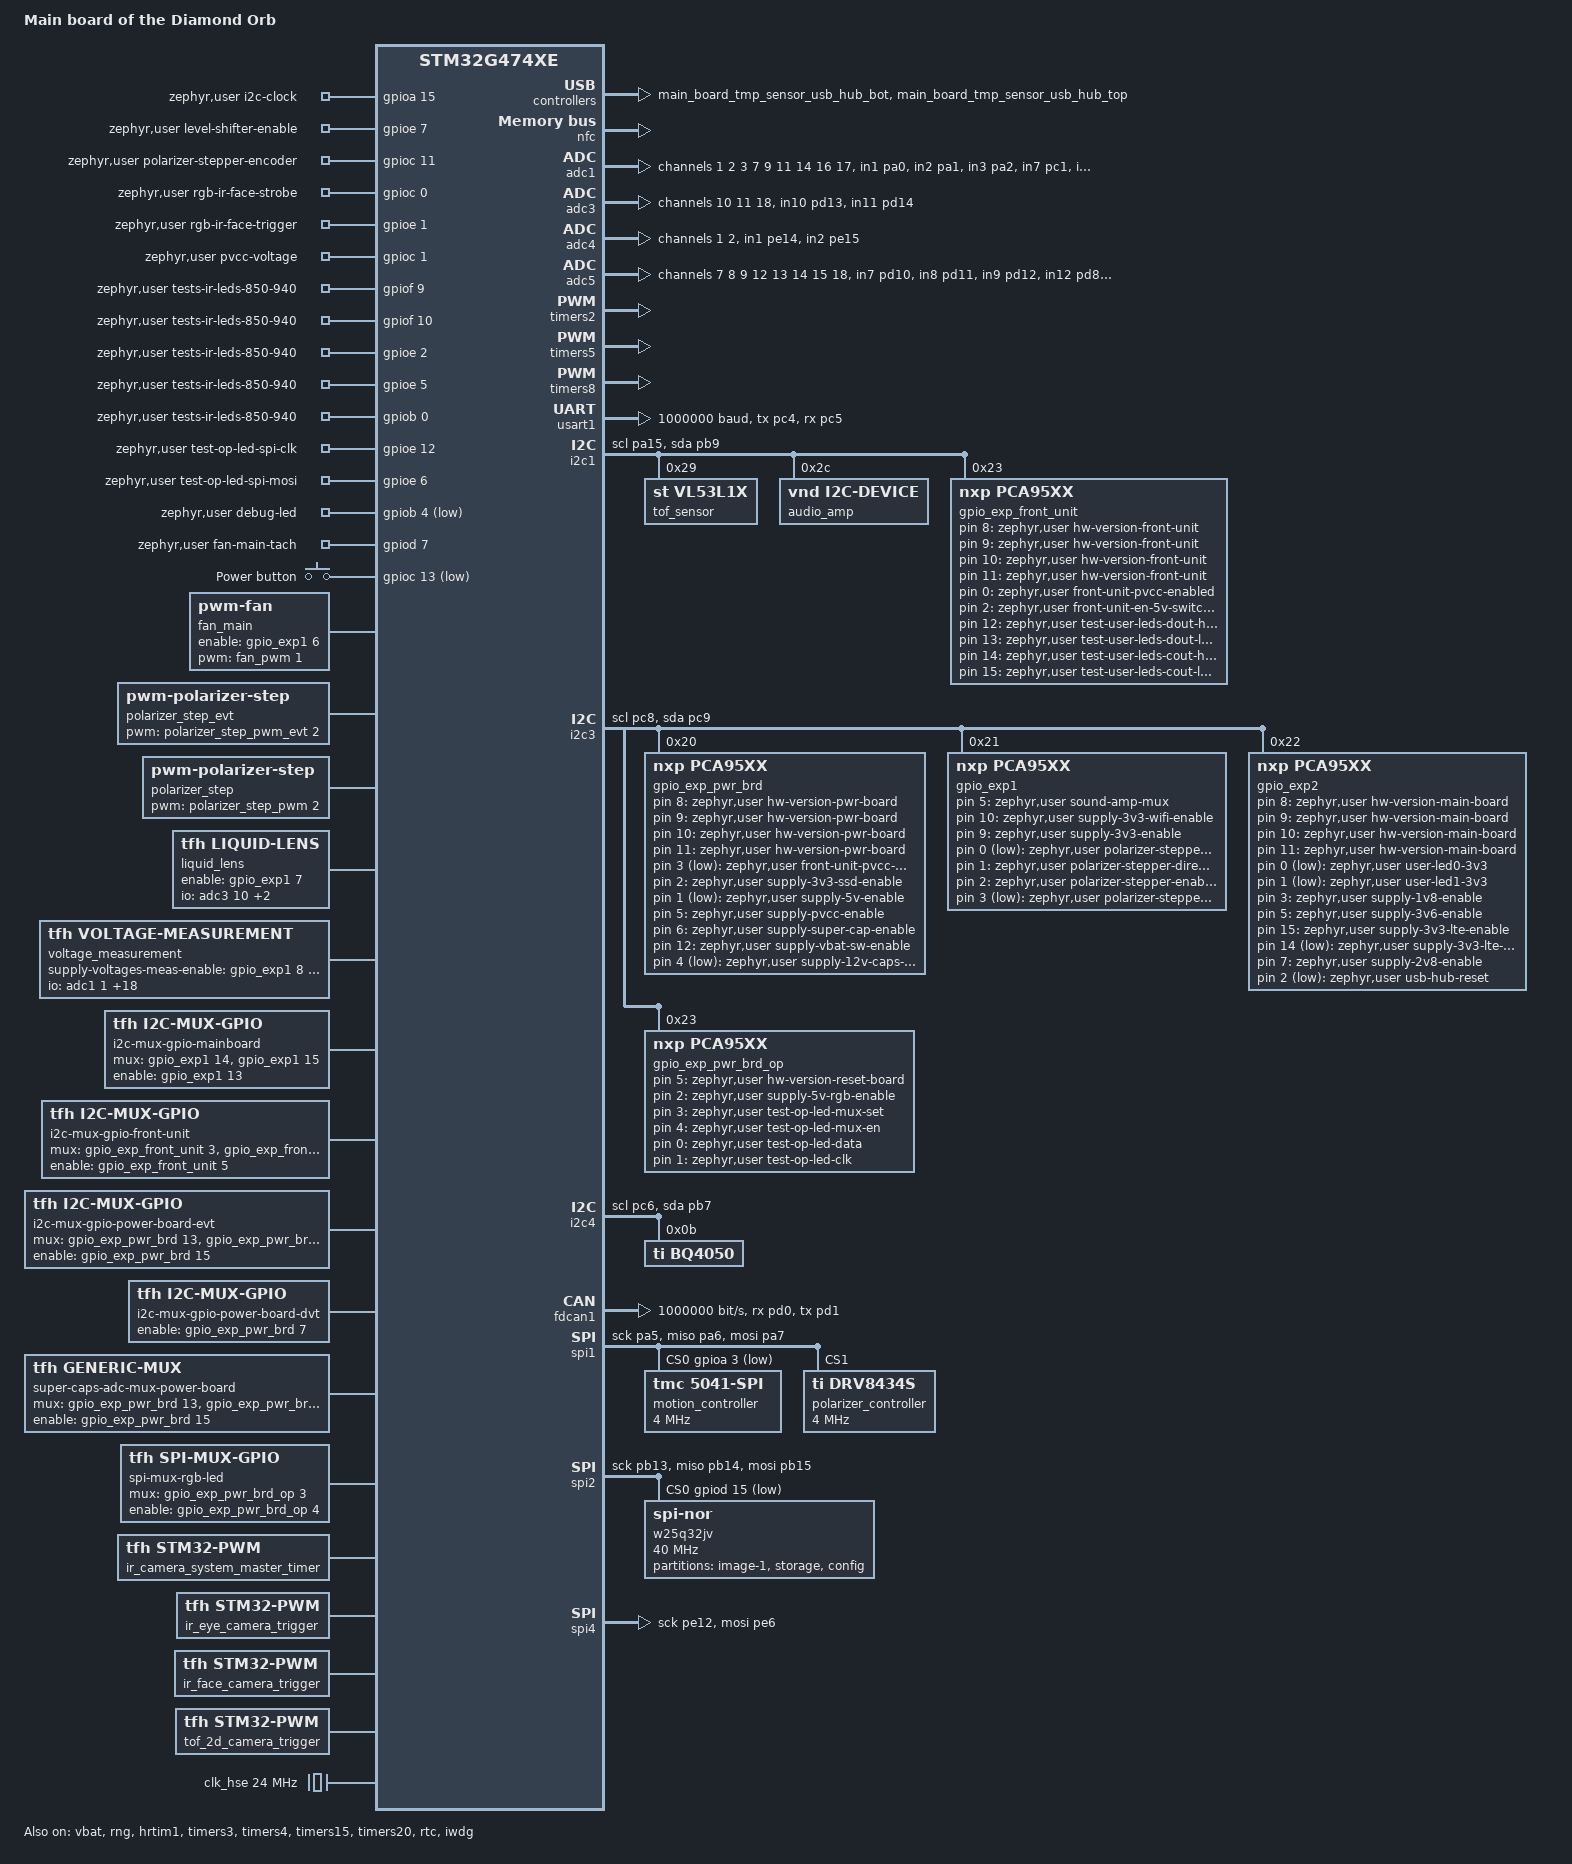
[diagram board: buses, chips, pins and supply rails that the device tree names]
/dts-v1/;
#include <st/g4/stm32g474Xe.dtsi>
#include <st/g4/stm32g474v(b-c-e)tx-pinctrl.dtsi>
#include "../stm32g474-hrtim.dtsi"
#include <zephyr/dt-bindings/spi/spi.h>
#include <zephyr/dt-bindings/dma/stm32_dma.h>
#include <zephyr/dt-bindings/led/led.h>

/// see @file modules/hal/stm32/stm32cube/stm32g4xx/drivers/include/stm32g4xx_ll_dmamux.h
#define LL_DMAMUX_REQ_ADC1            0x00000005U  /*!< DMAMUX ADC1 request        */
#define LL_DMAMUX_REQ_ADC3            0x00000025U  /*!< DMAMUX ADC3 request        */
#define LL_DMAMUX_REQ_ADC4            0x00000026U  /*!< DMAMUX ADC4 request        */
#define LL_DMAMUX_REQ_ADC5            0x00000027U  /*!< DMAMUX ADC5 request        */
#define LL_DMAMUX_REQ_USART1_RX       0x00000018U  /*!< DMAMUX USART1 RX request   */
#define LL_DMAMUX_REQ_USART1_TX       0x00000019U  /*!< DMAMUX USART1 TX request   */
#define LL_DMAMUX_REQ_SPI4_TX         0x0000006BU  /*!< DMAMUX SPI4 TX request     */

#define LL_DMAMUX_CHANNEL_8           0x00000008U  /*!< DMAMUX Channel 8 connected to DMA2 Channel 1  */
#define LL_DMAMUX_CHANNEL_9           0x00000009U  /*!< DMAMUX Channel 9 connected to DMA2 Channel 2  */
#define LL_DMAMUX_CHANNEL_10          0x0000000AU  /*!< DMAMUX Channel 10 connected to DMA2 Channel 3 */
#define LL_DMAMUX_CHANNEL_11          0x0000000BU  /*!< DMAMUX Channel 11 connected to DMA2 Channel 4 */

/// see @file zephyr/dts/bindings/dma/st,stm32-dma-v2.yaml
#define DMA_CONFIG_CYCLIC_SHIFT     5
#define DMA_CONFIG_DIR_SHIFT        6
#define DMA_MEM_INC_ADDR_SHIFT      10

#define DMA_DIR_MEM_TO_PERIPH       1
#define DMA_DIR_PERIPH_TO_MEM       2

/ {
    model = "Main board of the Diamond Orb";
    compatible = "tfh,diamond_main";

    chosen {
        zephyr,flash = &flash0;
        zephyr,sram = &sram0;
        // app in slot0_partition by default
        // the bootloader uses an overlay to redefine this
        zephyr,code-partition = &slot0_partition;
        zephyr,canbus = &fdcan1;
    };

    aliases {
        watchdog0 = &iwdg;
        secondary-slot = &slot1_partition;
        spi-flash0 = &w25q32jv;
		rtc = &rtc;
    };

    zephyr,user {
        jetson-serial = <&usart1>;
        // GPIO used to get hardware version dynamically
        hw-version-main-board-gpios = <&gpio_exp2 8 GPIO_ACTIVE_HIGH>, <&gpio_exp2 9 GPIO_ACTIVE_HIGH>, <&gpio_exp2 10 GPIO_ACTIVE_HIGH>, <&gpio_exp2 11 GPIO_ACTIVE_HIGH>;
        hw-version-front-unit-gpios = <&gpio_exp_front_unit 8 GPIO_ACTIVE_HIGH>, <&gpio_exp_front_unit 9 GPIO_ACTIVE_HIGH>, <&gpio_exp_front_unit 10 GPIO_ACTIVE_HIGH>, <&gpio_exp_front_unit 11 GPIO_ACTIVE_HIGH>;
        hw-version-pwr-board-gpios = <&gpio_exp_pwr_brd 8 GPIO_ACTIVE_HIGH>, <&gpio_exp_pwr_brd 9 GPIO_ACTIVE_HIGH>, <&gpio_exp_pwr_brd 10 GPIO_ACTIVE_HIGH>, <&gpio_exp_pwr_brd 11 GPIO_ACTIVE_HIGH>;
        hw-version-reset-board-gpios = <&gpio_exp_pwr_brd_op 5 GPIO_ACTIVE_HIGH>;
        sound-amp-mux-gpios = <&gpio_exp1 5 GPIO_ACTIVE_HIGH>;
        i2c-clock-gpios = <&gpioa 15 GPIO_ACTIVE_HIGH>;
        front-unit-pvcc-pwm-mode-gpios = <&gpio_exp_pwr_brd 3 GPIO_ACTIVE_LOW>;
        level-shifter-enable-gpios = <&gpioe 7 GPIO_ACTIVE_HIGH>;

        user-led0-3v3-gpios = <&gpio_exp2 0 GPIO_ACTIVE_LOW>;
        user-led1-3v3-gpios = <&gpio_exp2 1 GPIO_ACTIVE_LOW>;

        supply-3v3-ssd-enable-gpios = <&gpio_exp_pwr_brd 2 GPIO_ACTIVE_HIGH>;
        supply-3v3-wifi-enable-gpios = <&gpio_exp1 10 GPIO_ACTIVE_HIGH>;
        supply-5v-enable-gpios = <&gpio_exp_pwr_brd 1 GPIO_ACTIVE_LOW>;
        supply-3v3-enable-gpios = <&gpio_exp1 9 GPIO_ACTIVE_HIGH>;
        supply-1v8-enable-gpios = <&gpio_exp2 3 GPIO_ACTIVE_HIGH>;
        supply-pvcc-enable-gpios = <&gpio_exp_pwr_brd 5 GPIO_ACTIVE_HIGH>;
        supply-super-cap-enable-gpios = <&gpio_exp_pwr_brd 6 GPIO_ACTIVE_HIGH>;
        supply-vbat-sw-enable-gpios = <&gpio_exp_pwr_brd 12 GPIO_ACTIVE_HIGH>;
        front-unit-pvcc-enabled-gpios = <&gpio_exp_front_unit 0 GPIO_ACTIVE_HIGH>;

        polarizer-stepper-spi-cs-gpios = <&gpio_exp1 0 GPIO_ACTIVE_LOW>;
        polarizer-stepper-direction-gpios = <&gpio_exp1 1 GPIO_ACTIVE_HIGH>;
        polarizer-stepper-enable-gpios = <&gpio_exp1 2 GPIO_ACTIVE_HIGH>;
        polarizer-stepper-encoder-enable-gpios = <&gpio_exp1 3 GPIO_ACTIVE_LOW>;
        polarizer-stepper-encoder-gpios = <&gpioc 11 GPIO_ACTIVE_HIGH>;

        // rgb/ir face cam is used as master for synchronizing
        // ir leds with the camera
        rgb-ir-face-strobe-gpios = <&gpioc 0 GPIO_ACTIVE_HIGH>;
        rgb-ir-face-trigger-gpios = <&gpioe 1 GPIO_ACTIVE_HIGH>;

        // On Front Unit 6.2 (B3) the signal EN_5V_SWITCHED is connected to the port expander pin P02 instead.
        front-unit-en-5v-switched-gpios = <&gpio_exp_front_unit 2 GPIO_ACTIVE_HIGH>;      // B3 only

        supply-12v-caps-enable-gpios = <&gpio_exp_pwr_brd 4 GPIO_ACTIVE_LOW>;
        supply-5v-rgb-enable-gpios = <&gpio_exp_pwr_brd_op 2 GPIO_ACTIVE_HIGH>;
        supply-3v6-enable-gpios = <&gpio_exp2 5 GPIO_ACTIVE_HIGH>;
        supply-3v3-lte-enable-gpios = <&gpio_exp2 15 GPIO_ACTIVE_HIGH>;
        supply-3v3-lte-reset-gpios = <&gpio_exp2 14 GPIO_ACTIVE_LOW>;
        supply-2v8-enable-gpios = <&gpio_exp2 7 GPIO_ACTIVE_HIGH>;

        // used by boot.c when voltage measurements module is not available yet
        pvcc-voltage-gpios = <&gpioc 1 GPIO_ACTIVE_HIGH>;

        tests-ir-leds-850-940-gpios =
            <&gpiof 9 GPIO_ACTIVE_HIGH /* 850nm center */ >,
            <&gpiof 10 GPIO_ACTIVE_HIGH /* 850nm side */ >,
            <&gpioe 2 GPIO_ACTIVE_HIGH /* 940nm left */ >,
            <&gpioe 5 GPIO_ACTIVE_HIGH /* 940nm right */ >,
            <&gpiob 0 GPIO_ACTIVE_HIGH /* 940nm single */ >;

        /* bit-banged SPI to test RGB LED */
        test-op-led-spi-clk-gpios = <&gpioe 12 GPIO_ACTIVE_HIGH>;
        test-op-led-spi-mosi-gpios = <&gpioe 6 GPIO_ACTIVE_HIGH>;
        /* mux for front (0) or operator RGB LED (1) */
        test-op-led-mux-set-gpios = <&gpio_exp_pwr_brd_op 3 GPIO_ACTIVE_HIGH>;
        test-op-led-mux-en-gpios = <&gpio_exp_pwr_brd_op 4 GPIO_ACTIVE_HIGH>;
        /* test signals */
        test-op-led-data-gpios = <&gpio_exp_pwr_brd_op 0 GPIO_ACTIVE_HIGH>;
        test-op-led-clk-gpios = <&gpio_exp_pwr_brd_op 1 GPIO_ACTIVE_HIGH>;
        test-user-leds-dout-high-gpios = <&gpio_exp_front_unit 12 GPIO_ACTIVE_HIGH>;
        test-user-leds-dout-low-gpios = <&gpio_exp_front_unit 13 GPIO_ACTIVE_HIGH>;
        test-user-leds-cout-high-gpios = <&gpio_exp_front_unit 14 GPIO_ACTIVE_HIGH>;
        test-user-leds-cout-low-gpios = <&gpio_exp_front_unit 15 GPIO_ACTIVE_HIGH>;

        debug-led-gpios = <&gpiob 4 GPIO_ACTIVE_LOW>;

        usb-hub-reset-gpios = <&gpio_exp2 2 GPIO_ACTIVE_LOW>;

        // Voltage at VREF+ pin of STM32
        vref-mv = <2048>;

        // for gpio based tachometer (coarse estimation)
        fan-main-tach-gpios = <&gpiod 7 GPIO_ACTIVE_HIGH>;
    };

    buttons {
        compatible = "gpio-keys";
        power_button {
            gpios = <&gpioc 13 GPIO_ACTIVE_LOW>;
            label = "Power button";
        };
    };

    jetson_power_pins
    {
        compatible = "gpio-jetson-power";

        shutdown_request
        {
            // input
            // Jetson module uses this to request a shutdown sequence
            gpios = <&gpioe 4 GPIO_ACTIVE_LOW>;
        };

        power_enable
        {
            // output
            // this signals the Jetson module to turn on an off
            gpios = <&gpio_exp2 4 GPIO_ACTIVE_HIGH>;
        };

        system_reset
        {
            // bidirectional
            // drive low to reset
            // driven by Jetson to indicate power sequence is complete
            gpios = <&gpioe 8 GPIO_ACTIVE_LOW>;
        };

        module_sleep
        {
            // input
            // when driven low indicates that the module has gone to sleep
            gpios = <&gpioe 0 GPIO_ACTIVE_LOW>;
        };

        sleep_wake
        {
            // output
            // drive high to indicate that the Jetson should enter sleep mode
            gpios = <&gpioe 9 GPIO_ACTIVE_LOW>;
        };
    };

    fan_main {
        compatible = "pwm-fan";
        pwms = <&fan_pwm 1 40000 PWM_POLARITY_NORMAL>;
        enable-gpios = <&gpio_exp1 6 GPIO_ACTIVE_HIGH>;
    };

    white_leds_evt {
        compatible = "pwm-white-leds";
        pwms = <&white_leds_pwm_evt 2 65535 PWM_POLARITY_NORMAL>;
        zephyr,deferred-init;
    };

    white_leds {
        compatible = "pwm-white-leds";
        pwms = <&white_leds_pwm 2 65535 PWM_POLARITY_NORMAL>;
        zephyr,deferred-init;
    };

    polarizer_step_evt {
        compatible = "pwm-polarizer-step";
        pwms = <&polarizer_step_pwm_evt 2 100000 PWM_POLARITY_NORMAL>;
        zephyr,deferred-init;
    };

    polarizer_step {
        compatible = "pwm-polarizer-step";
        pwms = <&polarizer_step_pwm 2 100000 PWM_POLARITY_NORMAL>;
        zephyr,deferred-init;
    };

    liquid_lens {
        compatible = "tfh,liquid-lens";

        io-channels = <&adc3 10>, <&adc3 11>, <&adc3 18>;
        io-channel-names = "ina240_ref", "ina240_sig", "vrefint";

        enable-gpios = <&gpio_exp1 7 GPIO_ACTIVE_HIGH>;

        amplifier-gains = <10>;
        shunt-resistor-ohms = "0.15f";
    };

    voltage_measurement {
        compatible = "tfh,voltage-measurement";
        // enable opamps to allow for voltage measurements of the power supplies
        supply-voltages-meas-enable-gpios = <&gpio_exp1 8 GPIO_ACTIVE_LOW>;

        // io-channels = <adc-device channel-number>, ...
        // adc1:
        // [0]: VBAT_SW
        //      Diamond: R1=94k, R2=10k
        // [1]: 3V3_SSD
        //      Diamond: R1=10k, R2=10k
        // [2]: 3V3_WIFI
        //      Diamond: R1=10k, R2=10k
        // [3]: PVCC
        //      Diamond: R1=442k, R2=23.5k
        // [4]: 12V_CAPS
        //      Diamond: R1=57k, R2=10k
        // [5]: V_SCAP_LOW
        //      Diamond
        // [6]: V_SCAP_HIGH
        //      Diamond
        // [7]: Die Temperature
        // [8]: Vbat / 3
        // adc4:
        // [9]: 1V8_SEC
        //       Diamond: R1=27R, R2=inf
        // [10]: 4V7_SEC
        //       Diamond: R1=2*47k, R2=47k
        // adc5:
        // [11]: 1V8
        //       Diamond: R1=27R, R2=inf
        // [12]: 3V3
        //       Diamond: R1=10k, R2=10k
        // [13]: 5V
        //       Diamond: R1=20k, R2=10k
        // [14]: 3V6
        //       Diamond: R1=10k, R2=10k
        // [15]: 3V3_LTE
        //       Diamond: R1=10k, R2=10k
        // [16]: 3V3_LDO
        //       Diamond: R1=10k, R2=10k
        // [17]: 2V8
        //       Diamond: R1=10k, R2=10k
        // [18]: VREFINT (typ. 1.212 V)
        //
        io-channels = <&adc1 1>, <&adc1 2>, <&adc1 3>, <&adc1 7>, <&adc1 9>, <&adc1 11>, <&adc1 14>, <&adc1 16>, <&adc1 17>,<&adc4 1>, <&adc4 2>, <&adc5 7>, <&adc5 8>, <&adc5 9>, <&adc5 12>, <&adc5 13>, <&adc5 14>, <&adc5 15>, <&adc5 18>;
        io-channel-names = "vbat_sw", "3v3_ssd", "3v3_wifi", "pvcc", "12v_caps", "v_scap_low", "v_scap_high", "die_temp", "3v3_uc","1v8_sec", "4v7_sec", "1v8", "3v3", "5v", "3v6", "3v3_lte", "3v3_ldo", "2V8", "vrefint";
        voltage-divider-scalings = "10.4f", "2.0f", "2.0f", "19.81f", "6.7f", "1.0f", "1.0f", "1.0f", "3.0f","1.0f", "3.0f", "1.0f", "2.0f", "3.0f", "2.0f", "2.0f", "2.0f", "2.0f", "1.0f";
    };

    i2c-mux-gpio-mainboard {
        compatible = "tfh,i2c-mux-gpio";
        status = "okay";
        #address-cells = <1>;
        #size-cells = <0>;
        mux-gpios = <&gpio_exp1 14 GPIO_ACTIVE_HIGH>, <&gpio_exp1 15 GPIO_ACTIVE_HIGH>;
        enable-gpios = <&gpio_exp1 13 GPIO_ACTIVE_HIGH>;
        i2c-parent = <&i2c1>;

        mux_i2c@0 {
            compatible = "tfh,i2c-mux-gpio-channel";
            status = "okay";
            reg = <0>;
            #address-cells = <1>;
            #size-cells = <0>;

            main_board_tmp_sensor_usb_hub_bot: tmp112@48 {
                compatible = "ti,tmp112";
                status = "okay";
                reg = <0x48>;
            };

            main_board_tmp_sensor_security_supply: tmp112@49 {
                compatible = "ti,tmp112";
                status = "okay";
                reg = <0x49>;
            };

            main_board_tmp_sensor_usb_hub_top: tmp112@4a {
                compatible = "ti,tmp112";
                status = "okay";
                reg = <0x4a>;
            };

            main_board_tmp_sensor_audio_amp: tmp112@4b {
                compatible = "ti,tmp112";
                status = "okay";
                reg = <0x4b>;
            };

            tof_sensor_dvt: vl53l1x@29 {
                compatible = "st,vl53l1x";
                reg = <0x29>;
                zephyr,deferred-init;
            };

            nfc: st25r3918@50
            {
                compatible = "vnd,i2c-device";
                reg = <0x50>;
            };
        };

        mux_i2c@1 {
            compatible = "tfh,i2c-mux-gpio-channel";
            status = "okay";
            reg = <1>;
            #address-cells = <1>;
            #size-cells = <0>;

            liquid_lens_tmp_sensor: maxim31875@4a {
                compatible = "maxim,max31875";
                status = "okay";
                reg = <0x4a>;
                conversions-per-second = "1";
                resolution = <8>;
            };
        };
    };

    i2c-mux-gpio-front-unit {
        compatible = "tfh,i2c-mux-gpio";
        status = "okay";
        #address-cells = <1>;
        #size-cells = <0>;
        mux-gpios = <&gpio_exp_front_unit 3 GPIO_ACTIVE_HIGH>, <&gpio_exp_front_unit 4 GPIO_ACTIVE_HIGH>;
        enable-gpios = <&gpio_exp_front_unit 5 GPIO_ACTIVE_HIGH>;
        i2c-parent = <&i2c1>;

        mux_i2c@0 {
            compatible = "tfh,i2c-mux-gpio-channel";
            status = "okay";
            reg = <0>;
            #address-cells = <1>;
            #size-cells = <0>;

            front_unit_tmp_sensor_940_left_top: tmp112@48 {
                compatible = "ti,tmp112";
                status = "okay";
                reg = <0x48>;
            };

            front_unit_tmp_sensor_850_left_top: tmp112@49 {
                compatible = "ti,tmp112";
                status = "okay";
                reg = <0x49>;
            };

            front_unit_tmp_sensor_940_left_bot: tmp112@4a {
                compatible = "ti,tmp112";
                status = "okay";
                reg = <0x4a>;
            };

            front_unit_tmp_sensor_850_left_bot: tmp112@4b {
                compatible = "ti,tmp112";
                status = "okay";
                reg = <0x4b>;
            };
        };

        mux_i2c@1 {
            compatible = "tfh,i2c-mux-gpio-channel";
            status = "okay";
            reg = <1>;
            #address-cells = <1>;
            #size-cells = <0>;

            front_unit_tmp_sensor_850_right_top: tmp112@48 {
                compatible = "ti,tmp112";
                status = "okay";
                reg = <0x48>;
            };

            front_unit_tmp_sensor_940_right_top: tmp112@49 {
                compatible = "ti,tmp112";
                status = "okay";
                reg = <0x49>;
            };

            front_unit_tmp_sensor_940_right_bot: tmp112@4b {
                compatible = "ti,tmp112";
                status = "okay";
                reg = <0x4b>;
            };
        };

        mux_i2c@3 {
            compatible = "tfh,i2c-mux-gpio-channel";
            status = "okay";
            reg = <3>;
            #address-cells = <1>;
            #size-cells = <0>;

            front_unit_als: bh1730@29 {
                compatible = "rohm,bh1730";
                status = "okay";
                reg = <0x29>;
            };

            front_unit_tmp_sensor_shroud_rgb_top: tmp112@48 {
                compatible = "ti,tmp112";
                status = "okay";
                reg = <0x48>;
            };

            front_unit_tmp_sensor_white_rgb_left_bot: tmp112@49 {
                compatible = "ti,tmp112";
                status = "okay";
                reg = <0x49>;
            };

            front_unit_tmp_sensor_white_rgb_right_bot: tmp112@4a {
                compatible = "ti,tmp112";
                status = "okay";
                reg = <0x4a>;
            };

            front_unit_tmp_sensor_850_center_bot: tmp112@4b {
                compatible = "ti,tmp112";
                status = "okay";
                reg = <0x4b>;
            };
        };
    };

    i2c-mux-gpio-power-board-evt {
        compatible = "tfh,i2c-mux-gpio";
        status = "okay";
        #address-cells = <1>;
        #size-cells = <0>;
        mux-gpios = <&gpio_exp_pwr_brd 13 GPIO_ACTIVE_HIGH>, <&gpio_exp_pwr_brd 14 GPIO_ACTIVE_HIGH>;
        enable-gpios = <&gpio_exp_pwr_brd 15 GPIO_ACTIVE_HIGH>;
        i2c-parent = <&i2c1>;

        mux_i2c@0 {
            compatible = "tfh,i2c-mux-gpio-channel";
            status = "okay";
            reg = <0>;
            #address-cells = <1>;
            #size-cells = <0>;

            power_board_tmp_sensor_super_cap_charger_evt: tmp112@48 {
                compatible = "ti,tmp112";
                status = "okay";
                reg = <0x48>;
                zephyr,deferred-init;
            };

            power_board_tmp_sensor_pvcc_supply_evt: tmp112@49 {
                compatible = "ti,tmp112";
                status = "okay";
                reg = <0x49>;
                zephyr,deferred-init;
            };

            power_board_tmp_sensor_super_caps_bot_evt: tmp112@4a {
                compatible = "ti,tmp112";
                status = "okay";
                reg = <0x4a>;
                zephyr,deferred-init;
            };

            power_board_tmp_sensor_12v_caps_bot_evt: tmp112@4b {
                compatible = "ti,tmp112";
                status = "okay";
                reg = <0x4b>;
                zephyr,deferred-init;
            };
        };
    };

    i2c-mux-gpio-power-board-dvt {
        compatible = "tfh,i2c-mux-gpio";
        status = "okay";
        #address-cells = <1>;
        #size-cells = <0>;
        enable-gpios = <&gpio_exp_pwr_brd 7 GPIO_ACTIVE_HIGH>;
        i2c-parent = <&i2c1>;

        mux_i2c@0 {
            compatible = "tfh,i2c-mux-gpio-channel";
            status = "okay";
            reg = <0>;
            #address-cells = <1>;
            #size-cells = <0>;

            power_board_tmp_sensor_super_cap_charger: tmp112@48 {
                compatible = "ti,tmp112";
                status = "okay";
                reg = <0x48>;
                zephyr,deferred-init;
            };

            power_board_tmp_sensor_pvcc_supply: tmp112@49 {
                compatible = "ti,tmp112";
                status = "okay";
                reg = <0x49>;
                zephyr,deferred-init;
            };

            power_board_tmp_sensor_super_caps_bot: tmp112@4a {
                compatible = "ti,tmp112";
                status = "okay";
                reg = <0x4a>;
                zephyr,deferred-init;
            };

            power_board_tmp_sensor_12v_caps_bot: tmp112@4b {
                compatible = "ti,tmp112";
                status = "okay";
                reg = <0x4b>;
                zephyr,deferred-init;
            };
        };
    };

    // ic3
    super-caps-adc-mux-power-board {
        compatible = "tfh,generic-mux";
        status = "okay";
        #address-cells = <1>;
        #size-cells = <0>;
        mux-gpios = <&gpio_exp_pwr_brd 13 GPIO_ACTIVE_HIGH>, <&gpio_exp_pwr_brd 14 GPIO_ACTIVE_HIGH>;
        enable-gpios = <&gpio_exp_pwr_brd 15 GPIO_ACTIVE_HIGH>;
    };

    spi-mux-rgb-led {
        compatible = "tfh,spi-mux-gpio";
        status = "okay";
        #address-cells = <1>;
        #size-cells = <0>;
        mux-gpios = <&gpio_exp_pwr_brd_op 3 GPIO_ACTIVE_HIGH>;
        enable-gpios = <&gpio_exp_pwr_brd_op 4 GPIO_ACTIVE_HIGH>;
        spi-parent = <&spi4>;

        mux_spi_fu: spi@0 {
            compatible = "tfh,spi-mux-gpio-channel";
            status = "okay";
            reg = <0>;
            #address-cells = <1>;
            #size-cells = <0>;

            front_unit_rgb_leds_w:front_unit_rgb_leds_w@0
            {
                compatible = "we,spi-rgb-led";
                reg = <0>;
                spi-max-frequency = <1600000>;
                // 'duplex' option exists but
                // not actually used by the SPI driver
                duplex = <SPI_HALF_DUPLEX>;

                num-leds = <118>; // 54 (ring) + 64 (center)
            };

            front_unit_rgb_leds_apa: front_unit_rgb_leds_apa@1
            {
                compatible = "apa,apa102";
                reg = <1>;
                spi-max-frequency = <2000000>;
                // 'duplex' option exists but
                // not actually used by the SPI driver
                duplex = <SPI_HALF_DUPLEX>;

                chain-length = <118>; // 54 (ring) + 64 (center)
                color-mapping = <LED_COLOR_ID_BLUE
                                 LED_COLOR_ID_GREEN
                                 LED_COLOR_ID_RED>;
            };
        };

        mux_spi_op: spi@1 {
            compatible = "tfh,spi-mux-gpio-channel";
            status = "okay";
            reg = <1>;
            #address-cells = <1>;
            #size-cells = <0>;

            operator_rgb_leds: operator_rgb_leds@1
            {
                compatible = "we,spi-rgb-led";
                reg = <1>;
                spi-max-frequency = <1600000>;
                // 'duplex' option exists but
                // not actually used by the SPI driver
                duplex = <SPI_HALF_DUPLEX>;

                num-leds = <1>;
            };

            operator_rgb_leds_apa: operator_rgb_leds_apa@1
            {
                compatible = "apa,apa102";
                reg = <1>;
                spi-max-frequency = <2000000>;
                // 'duplex' option exists but
                // not actually used by the SPI driver
                duplex = <SPI_HALF_DUPLEX>;

                chain-length = <1>;
                color-mapping = <LED_COLOR_ID_BLUE
                                 LED_COLOR_ID_GREEN
                                 LED_COLOR_ID_RED>;
            };
        };
    };
};

&vbat {
    status = "okay";
};

&adc1 {
    // dmamux1: 8 = dma2,channel 1
    dmas = <&dmamux1 LL_DMAMUX_CHANNEL_8 LL_DMAMUX_REQ_ADC1
            (STM32_DMA_PERIPH_TO_MEMORY | STM32_DMA_MEM_INC | STM32_DMA_MEM_16BITS | STM32_DMA_PERIPH_16BITS)>;
    dma-names = "dmamux";

    status = "okay";
    pinctrl-0 = <&adc1_in1_pa0 &adc1_in2_pa1 &adc1_in3_pa2 &adc1_in7_pc1 &adc1_in9_pc3 &adc1_in11_pb12 &adc1_in14_pb11>;
    pinctrl-names = "default";
    st,adc-clock-source = "SYNC";
    st,adc-prescaler = <4>;
    vref-mv = <2048>;

    #address-cells = <1>;
    #size-cells = <0>;

    channel@1 {		// VBAT_SW
        reg = <1>;
        zephyr,acquisition-time = <ADC_ACQ_TIME(ADC_ACQ_TIME_TICKS, 48)>;	// ~1.1 µs @ ADC_CLK = 42.5 MHz
        zephyr,gain = "ADC_GAIN_1";
        zephyr,reference = "ADC_REF_INTERNAL";
        zephyr,resolution = <12>;
    };

    channel@2 {		// 3V3_SSD
        reg = <2>;
        zephyr,acquisition-time = <ADC_ACQ_TIME(ADC_ACQ_TIME_TICKS, 48)>;	// ~1.1 µs @ ADC_CLK = 42.5 MHz
        zephyr,gain = "ADC_GAIN_1";
        zephyr,reference = "ADC_REF_INTERNAL";
        zephyr,resolution = <12>;
    };

    channel@3 {		// 3V3_WIFI
        reg = <3>;
        zephyr,acquisition-time = <ADC_ACQ_TIME(ADC_ACQ_TIME_TICKS, 48)>;	// ~1.1 µs @ ADC_CLK = 42.5 MHz
        zephyr,gain = "ADC_GAIN_1";
        zephyr,reference = "ADC_REF_INTERNAL";
        zephyr,resolution = <12>;
    };

    channel@7 {		// PVCC
        reg = <7>;
        zephyr,acquisition-time = <ADC_ACQ_TIME(ADC_ACQ_TIME_TICKS, 48)>;	// ~1.1 µs @ ADC_CLK = 42.5 MHz
        zephyr,gain = "ADC_GAIN_1";
        zephyr,reference = "ADC_REF_INTERNAL";
        zephyr,resolution = <12>;
    };

    channel@9 {		// 12V_CAPS
        reg = <9>;
        zephyr,acquisition-time = <ADC_ACQ_TIME(ADC_ACQ_TIME_TICKS, 48)>;	// ~1.1 µs @ ADC_CLK = 42.5 MHz
        zephyr,gain = "ADC_GAIN_1";
        zephyr,reference = "ADC_REF_INTERNAL";
        zephyr,resolution = <12>;
    };

    channel@b {		// V_SCAP_LOW
        reg = <11>;
        zephyr,acquisition-time = <ADC_ACQ_TIME(ADC_ACQ_TIME_TICKS, 48)>;	// ~1.1 µs @ ADC_CLK = 42.5 MHz
        zephyr,gain = "ADC_GAIN_1";
        zephyr,reference = "ADC_REF_INTERNAL";
        zephyr,resolution = <12>;
    };

    channel@e {		// V_SCAP_HIGH
        reg = <14>;
        zephyr,acquisition-time = <ADC_ACQ_TIME(ADC_ACQ_TIME_TICKS, 48)>;	// ~1.1 µs @ ADC_CLK = 42.5 MHz
        zephyr,gain = "ADC_GAIN_1";
        zephyr,reference = "ADC_REF_INTERNAL";
        zephyr,resolution = <12>;
    };

    channel@10 {	// die temperature
        reg = <16>;
        // Minimum required sampling time is 5 µs according to the datasheet
        // Our ADC is running with 42.5 MHz (AHB = 170 MHz / 4)
        // This means we need to set the sampling time to at least 5 µs * 42.5 MHz = 212.5 ADC Ticks
        zephyr,acquisition-time = <ADC_ACQ_TIME(ADC_ACQ_TIME_TICKS, 248)>;	// ~5.8 µs @ ADC_CLK = 42.5 MHz
        zephyr,gain = "ADC_GAIN_1";
        zephyr,reference = "ADC_REF_INTERNAL";
        zephyr,resolution = <12>;
    };

    channel@11 {	// VBAT / 3 = 3V3_UC / 3
        reg = <17>;
        zephyr,acquisition-time = <ADC_ACQ_TIME(ADC_ACQ_TIME_TICKS, 248)>;	// ~5.8 µs @ ADC_CLK = 42.5 MHz
        zephyr,gain = "ADC_GAIN_1";
        zephyr,reference = "ADC_REF_INTERNAL";
        zephyr,resolution = <12>;
    };
};

&adc3 {
    // used by liquid_lens module
    // dmamux1: 10 = dma2,channel 3
    dmas = < &dmamux1 LL_DMAMUX_CHANNEL_10 LL_DMAMUX_REQ_ADC3 (STM32_DMA_PERIPH_TO_MEMORY |STM32_DMA_MEM_INC |
                           STM32_DMA_MEM_16BITS | STM32_DMA_PERIPH_16BITS) >;
    dma-names = "dmamux";
    status = "okay";
    pinctrl-0 = <&adc3_in10_pd13 &adc3_in11_pd14>;
    pinctrl-names = "default";
    st,adc-clock-source = "SYNC";
    st,adc-prescaler = <4>;
    vref-mv = <2048>;

    #address-cells = <1>;
    #size-cells = <0>;

    channel@a {		// INA240 REF
        reg = <10>;
        zephyr,acquisition-time = <ADC_ACQ_TIME(ADC_ACQ_TIME_TICKS, 48)>;	// ~1.1 µs @ ADC_CLK = 42.5 MHz
        zephyr,gain = "ADC_GAIN_1";
        zephyr,reference = "ADC_REF_INTERNAL";
        zephyr,resolution = <12>;
    };

    channel@b {		// INA240 SIG
        reg = <11>;
        zephyr,acquisition-time = <ADC_ACQ_TIME(ADC_ACQ_TIME_TICKS, 48)>;	// ~1.1 µs @ ADC_CLK = 42.5 MHz
        zephyr,gain = "ADC_GAIN_1";
        zephyr,reference = "ADC_REF_INTERNAL";
        zephyr,resolution = <12>;
    };

    channel@12 {	// VREFINT (typ. 1.212 V)
        reg = <18>;
        // Minimum required sampling time is 4 µs according to the datasheet
        // Our ADC is running with 42.5 MHz (AHB = 170 MHz / 4)
        // This means we need to set the sampling time to at least 4 µs * 42.5 MHz = 170 ADC Ticks
        zephyr,acquisition-time = <ADC_ACQ_TIME(ADC_ACQ_TIME_TICKS, 248)>;	// ~5.8 µs @ ADC_CLK = 42.5 MHz
        zephyr,gain = "ADC_GAIN_1";
        zephyr,reference = "ADC_REF_INTERNAL";
        zephyr,resolution = <12>;
    };
};

&adc4 {
    // dmamux1: 11 = dma2,channel 4
    dmas = < &dmamux1 LL_DMAMUX_CHANNEL_11 LL_DMAMUX_REQ_ADC4 (STM32_DMA_PERIPH_TO_MEMORY |
    STM32_DMA_MEM_INC |  STM32_DMA_MEM_16BITS | STM32_DMA_PERIPH_16BITS) >;
    dma-names = "dmamux";

    status = "okay";
    pinctrl-0 = <&adc4_in1_pe14 &adc4_in2_pe15>;
    pinctrl-names = "default";
    st,adc-clock-source = "SYNC";
    st,adc-prescaler = <4>;
    vref-mv = <2048>;

    #address-cells = <1>;
    #size-cells = <0>;

    channel@1 {		// 1V8_SEC
        reg = <1>;
        zephyr,acquisition-time = <ADC_ACQ_TIME(ADC_ACQ_TIME_TICKS, 48)>;	// ~1.1 µs @ ADC_CLK = 42.5 MHz
        zephyr,gain = "ADC_GAIN_1";
        zephyr,reference = "ADC_REF_INTERNAL";
        zephyr,resolution = <12>;
    };

    channel@2 {		// 4V7_SEC
        reg = <2>;
        zephyr,acquisition-time = <ADC_ACQ_TIME(ADC_ACQ_TIME_TICKS, 48)>;	// ~1.1 µs @ ADC_CLK = 42.5 MHz
        zephyr,gain = "ADC_GAIN_1";
        zephyr,reference = "ADC_REF_INTERNAL";
        zephyr,resolution = <12>;
    };
};

&adc5 {
    // dmamux1: 9 = dma2,ch2
    dmas = < &dmamux1 LL_DMAMUX_CHANNEL_9 LL_DMAMUX_REQ_ADC5 (STM32_DMA_PERIPH_TO_MEMORY |
	STM32_DMA_MEM_INC | STM32_DMA_MEM_16BITS | STM32_DMA_PERIPH_16BITS) >;
    dma-names = "dmamux";
    status = "okay";
    pinctrl-0 = <&adc5_in7_pd10 &adc5_in8_pd11 &adc5_in9_pd12 &adc5_in12_pd8 &adc5_in13_pd9 &adc5_in14_pe10 &adc5_in15_pe11>;
    pinctrl-names = "default";
    st,adc-clock-source = "SYNC";
    st,adc-prescaler = <4>;
    vref-mv = <2048>;

    #address-cells = <1>;
    #size-cells = <0>;

    channel@7 {		// 1V8
        reg = <7>;
        zephyr,acquisition-time = <ADC_ACQ_TIME(ADC_ACQ_TIME_TICKS, 48)>;	// ~1.1 µs @ ADC_CLK = 42.5 MHz
        zephyr,gain = "ADC_GAIN_1";
        zephyr,reference = "ADC_REF_INTERNAL";
        zephyr,resolution = <12>;
    };

    channel@8 {		// 3V3
        reg = <8>;
        zephyr,acquisition-time = <ADC_ACQ_TIME(ADC_ACQ_TIME_TICKS, 48)>;	// ~1.1 µs @ ADC_CLK = 42.5 MHz
        zephyr,gain = "ADC_GAIN_1";
        zephyr,reference = "ADC_REF_INTERNAL";
        zephyr,resolution = <12>;
    };

    channel@9 {		// 5V
        reg = <9>;
        zephyr,acquisition-time = <ADC_ACQ_TIME(ADC_ACQ_TIME_TICKS, 48)>;	// ~1.1 µs @ ADC_CLK = 42.5 MHz
        zephyr,gain = "ADC_GAIN_1";
        zephyr,reference = "ADC_REF_INTERNAL";
        zephyr,resolution = <12>;
    };

    channel@c {		// 3V6
        reg = <12>;
        zephyr,acquisition-time = <ADC_ACQ_TIME(ADC_ACQ_TIME_TICKS, 48)>;	// ~1.1 µs @ ADC_CLK = 42.5 MHz
        zephyr,gain = "ADC_GAIN_1";
        zephyr,reference = "ADC_REF_INTERNAL";
        zephyr,resolution = <12>;
    };

    channel@d {	        // 3V3_LTE
        reg = <13>;
        zephyr,acquisition-time = <ADC_ACQ_TIME(ADC_ACQ_TIME_TICKS, 48)>;	// ~1.1 µs @ ADC_CLK = 42.5 MHz
        zephyr,gain = "ADC_GAIN_1";
        zephyr,reference = "ADC_REF_INTERNAL";
        zephyr,resolution = <12>;
    };

    channel@e {		// 3V3_LDO
        reg = <14>;
        zephyr,acquisition-time = <ADC_ACQ_TIME(ADC_ACQ_TIME_TICKS, 48)>;	// ~1.1 µs @ ADC_CLK = 42.5 MHz
        zephyr,gain = "ADC_GAIN_1";
        zephyr,reference = "ADC_REF_INTERNAL";
        zephyr,resolution = <12>;
    };

    channel@f {		// 2V8
        reg = <15>;
        zephyr,acquisition-time = <ADC_ACQ_TIME(ADC_ACQ_TIME_TICKS, 48)>;	// ~1.1 µs @ ADC_CLK = 42.5 MHz
        zephyr,gain = "ADC_GAIN_1";
        zephyr,reference = "ADC_REF_INTERNAL";
        zephyr,resolution = <12>;
    };

    channel@12 {	// VREFINT (typ. 1.212 V)
        reg = <18>;
        // Minimum required sampling time is 4 µs according to the datasheet
	    // Our ADC is running with 42.5 MHz (AHB = 170 MHz / 4)
	    // This means we need to set the sampling time to at least 4 µs * 42.5 MHz = 170 ADC Ticks
        zephyr,acquisition-time = <ADC_ACQ_TIME(ADC_ACQ_TIME_TICKS, 248)>;	// ~5.8 µs @ ADC_CLK = 42.5 MHz
        zephyr,gain = "ADC_GAIN_1";
        zephyr,reference = "ADC_REF_INTERNAL";
        zephyr,resolution = <12>;
    };
};

&rng {
    clocks = <&rcc STM32_CLOCK_BUS_AHB2 0x04000000>,
             <&rcc STM32_SRC_HSI48 CLK48_SEL(0)>; // domain clock
    status = "okay";
};

&hrtim1 {
    status = "okay";

    liquid_lens: liquid_lens {
        compatible = "tfh,stm32-pwm";
        pinctrl-0 = <&hrtim1_cha1_pa8 &hrtim1_cha2_pa9 &hrtim1_chb1_pa10 &hrtim1_chb2_pa11>;
        pinctrl-names = "default";
    };
};

&timers2 {
    status = "okay";

    polarizer_step_pwm_evt: pwm {
        status = "okay";
        pinctrl-0 = <&tim2_ch2_pd4>;
        pinctrl-names = "default";
    };

    white_leds_pwm: pwm {
        status = "okay";
        pinctrl-0 = <&tim2_ch2_pd4>;
        pinctrl-names = "default";
    };
};

&timers3 {
    status = "okay";

    led_940nm: led_940nm {
        compatible = "tfh,stm32-pwm";
        pinctrl-0 = <&tim3_ch1_pe2 &tim3_ch4_pe5 &tim3_ch3_pb0>;
        pinctrl-names = "default";
        channels = <1 4 3>;
    };
};

&timers4 {
    status = "okay";

    ir_camera_system_master_timer: ir_camera_system_master_timer {
        compatible = "tfh,stm32-pwm";
        pinctrl-names = "default";
        pinctrl-0 = <>;
        channels = <1>;
    };
};

&timers5 {
    status = "okay";

    fan_pwm: pwm {
        status = "okay";
        pinctrl-0 = <&tim5_ch1_pb2>;
        pinctrl-names = "default";
    };
};

&timers8 {
    status = "okay";
    st,prescaler = <1>;

    white_leds_pwm_evt: pwm {
        status = "okay";
        pinctrl-0 = <&tim8_ch2_pc7>;
        pinctrl-names = "default";
    };

    polarizer_step_pwm: pwm {
        status = "okay";
        pinctrl-0 = <&tim8_ch2_pc7>;
        pinctrl-names = "default";
    };
};

&timers15 {
    status = "okay";

    led_850nm: led_850nm {
        compatible = "tfh,stm32-pwm";
        pinctrl-0 = <&tim15_ch1_pf9 &tim15_ch2_pf10>;
        pinctrl-names = "default";
        channels = <1 2>;
    };
};

&timers20 {
    status = "okay";

    // AKA CAM0_IREYE
    ir_eye_camera_trigger: ir_eye_camera_trigger {
        compatible = "tfh,stm32-pwm";
        pinctrl-0 = <&tim20_ch3_pf2>;
        pinctrl-names = "default";
        channels = <3>;
    };

    // AKA CAM2_IRFACE
    ir_face_camera_trigger: ir_face_camera_trigger {
        compatible = "tfh,stm32-pwm";
        pinctrl-0 = <&tim20_ch4_pe1>;
        pinctrl-names = "default";
        channels = <4>;
    };

    // AKA CAM3_TOF
    tof_2d_camera_trigger: tof_2d_camera_trigger {
        compatible = "tfh,stm32-pwm";
        pinctrl-0 = <&tim20_ch2_pe3>;
        pinctrl-names = "default";
        channels = <1>;
    };
};

&dma1 {
    // usart1 & spi4
    status = "okay";
};

&dma2 {
    // ADC sampling (through dmamux)
    status = "okay";
};

&dmamux1 {
    // ADC sampling
    status = "okay";
};

&clk_hse {
    clock-frequency = <DT_FREQ_M(24)>;
    status = "okay";
};

&clk_hsi48 {
    status = "okay";
};

&pll {
    div-m = <6>;
    mul-n = <85>;
    div-p = <7>;
    div-q = <2>;
    div-r = <2>;
    clocks = <&clk_hse>;
    status = "okay";
};

&rcc {
    clocks = <&pll>;
    clock-frequency = <DT_FREQ_M(170)>;
    ahb-prescaler = <1>;
    apb1-prescaler = <1>;
    apb2-prescaler = <1>;
};

// Jetson
&usart1 {
    pinctrl-0 = <&usart1_tx_pc4 &usart1_rx_pc5>;
    pinctrl-names = "default";
    current-speed = <1000000>;
    status = "okay";

    dmas = <&dma1 3 LL_DMAMUX_REQ_USART1_RX (STM32_DMA_PERIPH_RX | STM32_DMA_MEM_8BITS | STM32_DMA_MODE_CYCLIC)>,
           <&dma1 4 LL_DMAMUX_REQ_USART1_TX (STM32_DMA_PERIPH_TX)>;
    dma-names = "rx", "tx";
    fifo-enable;
};

// debug
&usart2 {
    pinctrl-0 = <&usart2_tx_pd5 &usart2_rx_pd6>;
    pinctrl-names = "default";
    current-speed = <115200>;
    status = "disabled"; // enable with overlay
};

&clk_lsi {
    status = "okay";
};

&rtc {
    status = "okay";

    clocks = <&rcc STM32_CLOCK_BUS_APB1 0x00000400>,
             <&rcc STM32_SRC_LSI RTC_SEL(2)>;

    /* In STM32G4, the backup registers are defined as part of the TAMP
     * peripheral. This peripheral is not implemented in Zephyr yet, however,
     * the reference manual states that tamp_pclk is connected to rtc_pclk.
     * It makes sense to have BBRAM instantiated as a child of RTC, so that
     * the driver can verify that its parent device (RTC) is ready.
     */
    bbram: backup_regs {
        compatible = "st,stm32-bbram";
        st,backup-regs = <5>;
        status = "okay";
    };
};

&i2c1 {
    pinctrl-0 = <&i2c1_scl_pa15 &i2c1_sda_pb9>;
    pinctrl-names = "default";
    status = "okay";
    zephyr,deferred-init;

    tof_sensor: vl53l1x@29 {
        compatible = "st,vl53l1x";
        reg = <0x29>;
        zephyr,deferred-init;
    };

    audio_amp: tas5805m@2c {
        compatible = "vnd,i2c-device";
        reg = <0x2c>;
        status = "okay";
    };

    // io-expander on the front unit 0x23
    gpio_exp_front_unit: pca95xx@23 {
        compatible = "nxp,pca95xx";
        zephyr,deferred-init;

        reg = <0x23>;
        gpio-controller;
        #gpio-cells = <2>;
        ngpios = <16>;
    };
};

&i2c3 {
    pinctrl-0 = <&i2c3_scl_pc8 &i2c3_sda_pc9>;
    pinctrl-names = "default";
    status = "okay";

    // io-expander on the power board 0x20
    gpio_exp_pwr_brd: pca95xx@20 {
        compatible = "nxp,pca95xx";
        reg = <0x20>;
        gpio-controller;
        #gpio-cells = <2>;
        ngpios = <16>;
    };

    // io-expander on the main board 0x21
    gpio_exp1: pca95xx@21 {
        compatible = "nxp,pca95xx";
        reg = <0x21>;
        gpio-controller;
        #gpio-cells = <2>;
        ngpios = <16>;
    };

    // io-expander on the main board 0x22
    gpio_exp2: pca95xx@22 {
        compatible = "nxp,pca95xx";
        reg = <0x22>;
        gpio-controller;
        #gpio-cells = <2>;
        ngpios = <16>;
    };

    // io-expander on the power board 0x23
    // connected to operator board
    gpio_exp_pwr_brd_op: pca95xx@23 {
        compatible = "nxp,pca95xx";
        reg = <0x23>;
        gpio-controller;
        #gpio-cells = <2>;
        ngpios = <16>;
    };
};

&i2c4 {
    pinctrl-0 = <&i2c4_scl_pc6 &i2c4_sda_pb7>;
    pinctrl-names = "default";
    status = "okay";

    bq4050:bq4050@b{
        reg = <0x0b>;
        compatible = "ti,bq4050";
    };

    // apply cone.overlay to add cone components
};

&fdcan1 {
    pinctrl-0 = <&fdcan1_rx_pd0 &fdcan1_tx_pd1>;
    pinctrl-names = "default";

    clocks = <&rcc STM32_CLOCK(APB1, 25U)>,
            <&rcc STM32_SRC_HSE FDCAN_SEL(0)>;

    bitrate = <1000000>;
    sample-point = <853>;
    bitrate-data = <1000000>;
    sample-point-data = <853>;
    status = "okay";
};

&spi1 {
    pinctrl-0 = <&spi1_sck_pa5 &spi1_miso_pa6 &spi1_mosi_pa7>;
    pinctrl-names = "default";
    cs-gpios = <&gpioa 3 GPIO_ACTIVE_LOW>;
    status = "okay";

    motion_controller: motion_controller@0 {
        compatible = "tmc,5041-spi";
        reg = <0>;
        spi-max-frequency = <4000000>;
        status = "okay";
    };

    polarizer_controller: polarizer_controller@1 {
        compatible = "ti,drv8434s";
        reg = <1>;
        spi-max-frequency = <4000000>;
        status = "okay";
    };
};

&spi2 {
    pinctrl-0 = <&spi2_sck_pb13 &spi2_miso_pb14 &spi2_mosi_pb15>;
    pinctrl-names = "default";
    cs-gpios = <&gpiod 15 GPIO_ACTIVE_LOW>;
    status = "okay";

    w25q32jv: w25q32jv@0 {
        compatible = "jedec,spi-nor";
        reg = <0>;
        spi-max-frequency = <40000000>;
        size = <0x2000000>;
        has-dpd;
        t-enter-dpd = <3000>;
        t-exit-dpd = <30000>;
        jedec-id = [ ef 40 16 ];
    };
};

&spi4 {
    pinctrl-0 = <&spi4_sck_pe12 &spi4_mosi_pe6>;
    pinctrl-names = "default";

    dmas = <&dma1 1 LL_DMAMUX_REQ_SPI4_TX ((DMA_DIR_MEM_TO_PERIPH << DMA_CONFIG_DIR_SHIFT) | (1 << DMA_MEM_INC_ADDR_SHIFT))>;
    dma-names = "tx";

    status = "okay";
};

&iwdg {
    status = "okay";
};

&w25q32jv {
    status = "okay";

    partitions {
        compatible = "fixed-partitions";
        #address-cells = <1>;
        #size-cells = <1>;

        /* 448KiB for app image, secondary slot */
        slot1_partition: partition@0 {
            label = "image-1";
            reg = <0x0 DT_SIZE_K(448)>;
        };

        /* 8KiB reserved for app storage partition */
        storage_partition: partition@7E000 {
            label = "storage";
            reg = <0x0007E000 DT_SIZE_K(8)>;
        };

        /* 8KiB reserved for configuration partition */
        config_partition: partition@7F000 {
            label = "config";
            reg = <0x0007F000 DT_SIZE_K(8)>;
        };
    };
};

&flash0 {
    /*
     * Base address: 0x8000000
     * For more information, see:
     * http://docs.zephyrproject.org/latest/guides/dts/index.html#flash-partitions
     */
    partitions {
        compatible = "fixed-partitions";
        #address-cells = <1>;
        #size-cells = <1>;

        /*
         *    48KiB for bootloader (mcuboot)
         * + 448KiB for app image
         * +  16KiB scratch area for mcuboot
         * ================================
         * 512KiB total
         */
        boot_partition: partition@0 {
            label = "mcuboot";
            reg = <0x00000000 DT_SIZE_K(48)>;
            read-only;
        };

        slot0_partition: partition@C000 {
            label = "image-0";
            reg = <0x0000C000 DT_SIZE_K(448)>;
        };

        scratch_partition: partition@7C000 {
            label = "image-scratch";
            reg = <0x0007C000 DT_SIZE_K(16)>;
        };
    };
};
